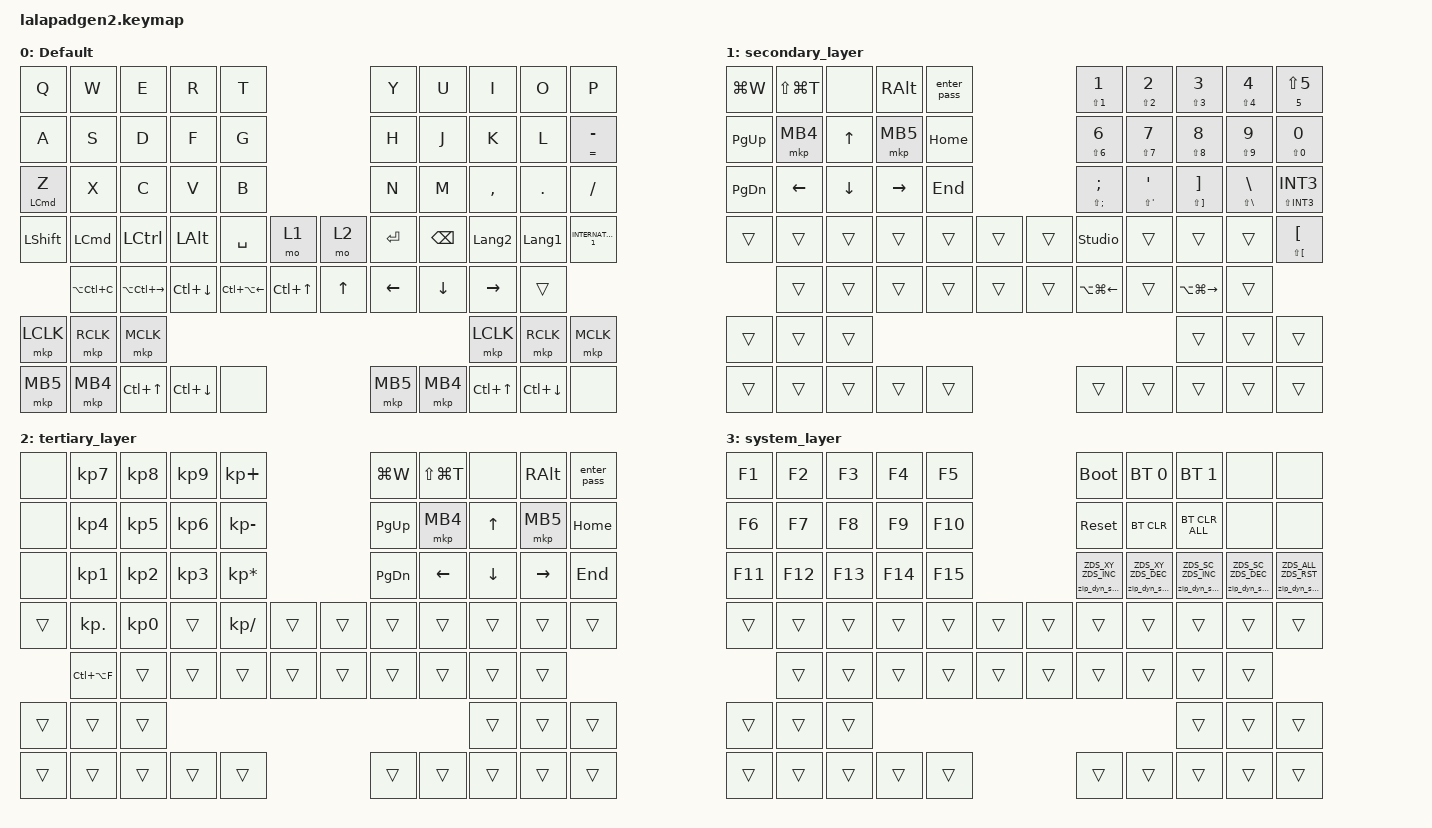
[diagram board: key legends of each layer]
#include <input/processors.dtsi>
#include <dt-bindings/zmk/zip_dynamic_scale.h>
#include <behaviors.dtsi>
#include <dt-bindings/zmk/bt.h>
#include <dt-bindings/zmk/keys.h>
#include <dt-bindings/zmk/pointing.h>

#define DEFAULT_LAYER   0
#define SECONDARY_LAYER 1
#define TERTIARY_LAYER  2
#define SYSTEM_LAYER    3

&mt {
    flavor = "tap-preferred";
    quick-tap-ms = <0>;
};

&lt {
    quick-tap-ms = <300>;
    flavor = "tap-preferred";
};

/ {
    behaviors {
        zip_dyn_scale: zip_dyn_scale {
            compatible = "zmk,behavior-zip-dynamic-scale";
            #binding-cells = <2>;
        };

        zip_dyn_scale_set: zip_dyn_scale_set {
            compatible = "zmk,behavior-zip-dynamic-scale-set";
            #binding-cells = <2>;
        };

        tap_dance_layer_1and2: tap_dance_layer_1and2 {
            compatible = "zmk,behavior-tap-dance";
            label = "td_mo12";
            #binding-cells = <0>;
            bindings = <&mo 1>, <&mo 2>;
        };
    };

    combos {
        compatible = "zmk,combos";

        CONBO_ESC {
            bindings = <&kp ESCAPE>;
            key-positions = <0 1>;
        };

        COMBO_TAB {
            bindings = <&kp TAB>;
            key-positions = <10 11>;
        };

        eisu {
            bindings = <&kp LANG2>;
            key-positions = <24 23>;
        };

        kana {
            bindings = <&kp LANG1>;
            key-positions = <25 26>;
        };

        system_layer {
            bindings = <&mo 3>;
            key-positions = <8 9>;
        };
    };

    macros {
        enter_pass: new_macro {
            compatible = "zmk,behavior-macro";
            #binding-cells = <0>;
            bindings = <&none>; // ENTER_PASS_PH
            label = "NEW_MACRO";
        };
    };

    keymap {
        compatible = "zmk,keymap";

        DEFAULT_LAYER {
            display-name = "Default";
            bindings = <
&kp Q               &kp W             &kp E              &kp R               &kp T                                 &kp Y           &kp U          &kp I             &kp O               &kp P
&kp A               &kp S             &kp D              &kp F               &kp G                                 &kp H           &kp J          &kp K             &kp L               &mt EQUAL MINUS
&mt LEFT_COMMAND Z  &kp X             &kp C              &kp V               &kp B                                 &kp N           &kp M          &kp COMMA         &kp PERIOD          &kp SLASH
&kp LEFT_SHIFT      &kp LEFT_COMMAND  &kp LEFT_CONTROL   &kp LEFT_ALT        &kp SPACE         &mo 1       &mo 2   &kp ENTER       &kp BACKSPACE  &kp LANGUAGE_2    &kp LANGUAGE_1      &kp INTERNATIONAL_1
                    &kp LA(LC(C))     &kp LA(LC(RIGHT))  &kp LC(DOWN)        &kp LC(LA(LEFT))  &kp LC(UP)  &kp UP  &kp LEFT_ARROW  &kp DOWN       &kp RIGHT         &trans
&mkp LCLK           &mkp RCLK         &mkp MCLK                                                                                                   &mkp LCLK         &mkp RCLK           &mkp MCLK
&mkp MB5            &mkp MB4          &kp LC(UP_ARROW)   &kp LC(DOWN_ARROW)  &none                                 &mkp MB5        &mkp MB4       &kp LC(UP_ARROW)  &kp LC(DOWN_ARROW)  &none
            >;
        };

        SECONDARY_LAYER {
            display-name = "secondary_layer";
            bindings = <
&kp LG(W)  &kp LS(LG(T))   &none           &kp RIGHT_ALT    &enter_pass                  &mt LS(N1) N1           &mt LS(N2) N2    &mt LS(N3) N3            &mt LS(N4) N4      &mt N5 LS(N5)
&kp PG_UP  &mkp MB4        &kp UP_ARROW    &mkp MB5         &kp HOME                     &mt LS(N6) N6           &mt LS(N7) N7    &mt LS(N8) N8            &mt LS(N9) N9      &mt LS(N0) N0
&kp PG_DN  &kp LEFT_ARROW  &kp DOWN_ARROW  &kp RIGHT_ARROW  &kp END                      &mt LS(SEMI) SEMI       &mt LS(SQT) SQT  &mt LS(RBKT) RBKT        &mt LS(BSLH) BSLH  &mt LS(INT3) INT3
&trans     &trans          &trans          &trans           &trans       &trans  &trans  &studio_unlock          &trans           &trans                   &trans             &mt LS(LBKT) LBKT
           &trans          &trans          &trans           &trans       &trans  &trans  &kp LA(LG(LEFT_ARROW))  &trans           &kp LA(LG(RIGHT_ARROW))  &trans
&trans     &trans          &trans                                                                                                 &trans                   &trans             &trans
&trans     &trans          &trans          &trans           &trans                       &trans                  &trans           &trans                   &trans             &trans
            >;
        };

        TERTIARY_LAYER {
            display-name = "tertiary_layer";
            bindings = <
&none   &kp KP_N7      &kp KP_N8  &kp KP_N9        &kp KP_PLUS                      &kp LG(W)  &kp LS(LG(T))   &none           &kp RIGHT_ALT    &enter_pass
&none   &kp KP_N4      &kp KP_N5  &kp KP_N6        &kp KP_MINUS                     &kp PG_UP  &mkp MB4        &kp UP_ARROW    &mkp MB5         &kp HOME
&none   &kp KP_N1      &kp KP_N2  &kp KP_NUMBER_3  &kp KP_MULTIPLY                  &kp PG_DN  &kp LEFT_ARROW  &kp DOWN_ARROW  &kp RIGHT_ARROW  &kp END
&trans  &kp KP_DOT     &kp KP_N0  &trans           &kp KP_SLASH     &trans  &trans  &trans     &trans          &trans          &trans           &trans
        &kp LC(LA(F))  &trans     &trans           &trans           &trans  &trans  &trans     &trans          &trans          &trans
&trans  &trans         &trans                                                                                  &trans          &trans           &trans
&trans  &trans         &trans     &trans           &trans                           &trans     &trans          &trans          &trans           &trans
            >;
        };

        SYSTEM_LAYER {
            display-name = "system_layer";
            bindings = <
&kp F1   &kp F2   &kp F3   &kp F4   &kp F5                   &bootloader                    &bt BT_SEL 0                   &bt BT_SEL 1                   &none                          &none
&kp F6   &kp F7   &kp F8   &kp F9   &kp F10                  &sys_reset                     &bt BT_CLR                     &bt BT_CLR_ALL                 &none                          &none
&kp F11  &kp F12  &kp F13  &kp F14  &kp F15                  &zip_dyn_scale ZDS_XY ZDS_INC  &zip_dyn_scale ZDS_XY ZDS_DEC  &zip_dyn_scale ZDS_SC ZDS_INC  &zip_dyn_scale ZDS_SC ZDS_DEC  &zip_dyn_scale ZDS_ALL ZDS_RST
&trans   &trans   &trans   &trans   &trans   &trans  &trans  &trans                         &trans                         &trans                         &trans                         &trans
         &trans   &trans   &trans   &trans   &trans  &trans  &trans                         &trans                         &trans                         &trans
&trans   &trans   &trans                                                                                                   &trans                         &trans                         &trans
&trans   &trans   &trans   &trans   &trans                   &trans                         &trans                         &trans                         &trans                         &trans
            >;
        };
    };

    conditional_layers { compatible = "zmk,conditional-layers"; };
};
